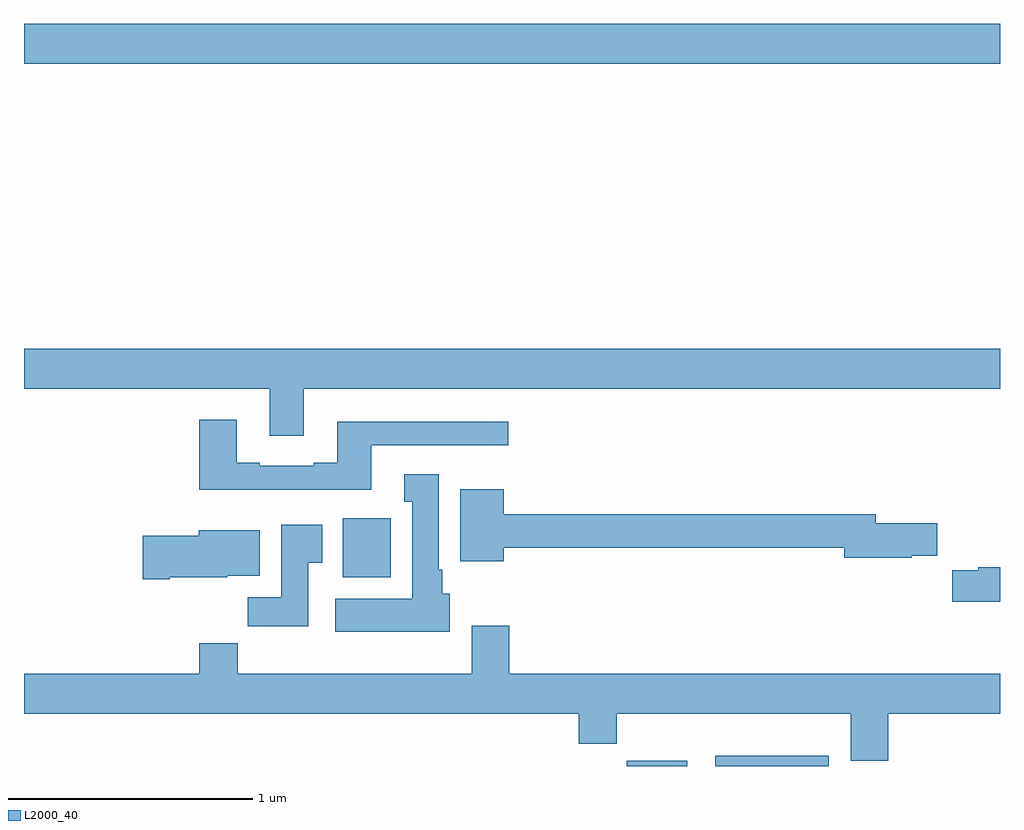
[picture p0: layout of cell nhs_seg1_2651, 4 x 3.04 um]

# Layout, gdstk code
import gdstk
lib = gdstk.Library(unit=1e-6, precision=1e-09)
def R(c, l, rs):  # rectangles x0, y0, x1, y1
    for r in rs: c.add(gdstk.rectangle(r[:2], r[2:], *l))
def P(c, l, *ps):  # polygons
    for p in ps: c.add(gdstk.Polygon(p, *l))
L2000_40 = (2000, 40)

nhs_seg1_2651 = lib.new_cell('nhs_seg1_2651')
R(nhs_seg1_2651, L2000_40, [(257.47,534.199,257.719,534.223), (257.834,534.199,258.298,534.244), (256.307,534.974,256.504,535.216), (255,537.08,259,537.244)])
P(nhs_seg1_2651, L2000_40, [(256.147,535.748),(259,535.748),(259,535.912),(255,535.912),(255,535.748),(256.007,535.748),(256.007,535.554),(256.147,535.554)],
  [(256.423,535.515),(256.984,535.515),(256.984,535.612),(256.283,535.612),(256.283,535.444),(256.187,535.444),(256.187,535.431),(255.967,535.431),(255.967,535.444),(255.871,535.444),(255.871,535.621),(255.719,535.621),(255.719,535.334),(256.423,535.334)],
  [(256.744,534.906),(256.714,534.906),(256.714,535.006),(256.699,535.006),(256.699,535.396),(256.559,535.396),(256.559,535.283),(256.592,535.283),(256.592,534.886),(256.275,534.886),(256.275,534.752),(256.744,534.752)],
  [(256.966,535.096),(258.362,535.096),(258.362,535.054),(258.638,535.054),(258.638,535.062),(258.743,535.062),(258.743,535.196),(258.49,535.196),(258.49,535.232),(256.966,535.232),(256.966,535.336),(256.787,535.336),(256.787,535.04),(256.966,535.04)],
  [(256.165,535.033),(256.222,535.033),(256.222,535.189),(256.055,535.189),(256.055,534.892),(255.916,534.892),(255.916,534.774),(256.165,534.774)],
  [(255.598,534.974),(255.834,534.974),(255.834,534.98),(255.967,534.98),(255.967,535.168),(255.716,535.168),(255.716,535.145),(255.486,535.145),(255.486,534.967),(255.598,534.967)],
  [(259,535.016),(258.91,535.016),(258.91,535.004),(258.805,535.004),(258.805,534.874),(259,534.874)],
  [(256.988,534.775),(256.835,534.775),(256.835,534.58),(255.875,534.58),(255.875,534.704),(255.719,534.704),(255.719,534.58),(255,534.58),(255,534.416),(257.273,534.416),(257.273,534.292),(257.429,534.292),(257.429,534.416),(258.389,534.416),(258.389,534.222),(258.541,534.222),(258.541,534.416),(259,534.416),(259,534.58),(256.988,534.58)])

lib.write_gds('nhs_seg1_2651.gds')
